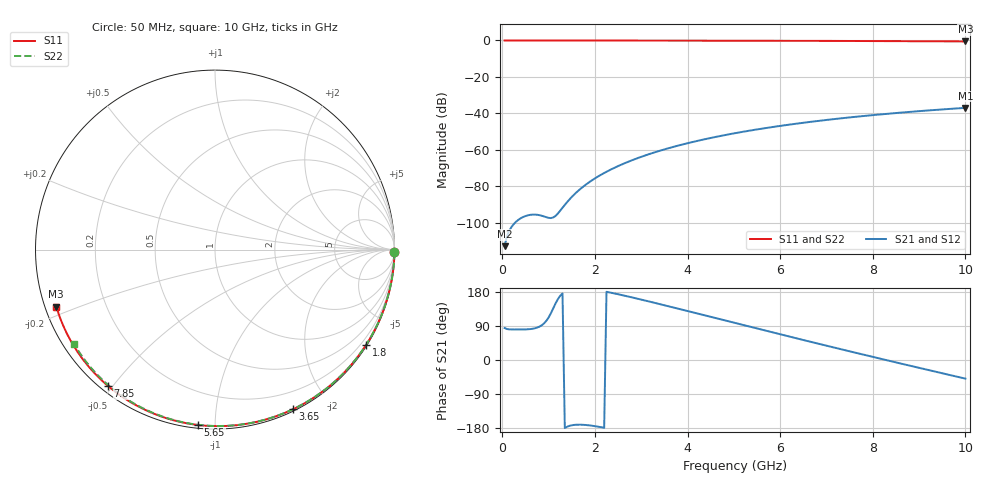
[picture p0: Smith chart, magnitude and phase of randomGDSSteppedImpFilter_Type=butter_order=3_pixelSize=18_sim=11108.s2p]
! freq	dB(S11)	phase(S11)	dB(S12)	phase(S12)
!  dB(S21)	phase(S21)	dB(S22)	phase(S22)
!S-par simulation data
#  GHz  S  DB  R 50
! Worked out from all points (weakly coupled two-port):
!   200 points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, 50 MHz to 10 GHz, reference 50 ohm
!   highest |S21| = -36.94 dB at 10 GHz (marker M1); lowest = -112.8 dB at 50 MHz (marker M2)
!   lowest |S11| = -0.5 dB at 10 GHz (marker M3), VSWR 32.04, Z = 1.61 - j8.69 ohm
!   |S11| at or under -10 dB: nowhere
!   |S22| runs from -0.5 to 0.0 dB; largest |S21 - S12| = 0
!   S11 on the Smith chart (normalised r, x): 50 MHz: open; 1.8 GHz: 0.03, -3.45; 3.65 GHz: 0.02, -1.60; 5.65 GHz: 0.02, -0.91; 7.85 GHz: 0.02, -0.49; 10 GHz: 0.03, -0.17
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0.05  -0.00 -0.9  -112.76 84.5  -112.76 84.5  -0.00 -0.9
0.45  -0.01 -8.2  -96.77 80.6  -96.77 80.6  -0.01 -7.6
0.9  -0.02 -16.3  -96.47 96.4  -96.47 96.4  -0.02 -15.2
1.75  -0.04 -31.5  -80.06 -171.0  -80.06 -171.0  -0.04 -29.3
1.8  -0.04 -32.3  -79.09 -171.5  -79.09 -171.5  -0.04 -30.1
1.95  -0.04 -35.0  -76.43 -173.6  -76.43 -173.6  -0.04 -32.5
2.1  -0.05 -37.6  -74.08 -176.6  -74.08 -176.6  -0.04 -35.0
2.3  -0.05 -41.1  -71.31 178.7  -71.31 178.7  -0.05 -38.2
2.5  -0.06 -44.5  -68.87 173.6  -68.87 173.6  -0.05 -41.4
2.9  -0.07 -51.4  -64.70 162.4  -64.70 162.4  -0.06 -47.8
3.4  -0.08 -59.7  -60.46 147.5  -60.46 147.5  -0.07 -55.6
3.65  -0.09 -63.9  -58.63 139.9  -58.63 139.9  -0.08 -59.4
4.3  -0.11 -74.4  -54.54 120.0  -54.54 120.0  -0.10 -69.3
5.05  -0.13 -86.3  -50.71 96.9  -50.71 96.9  -0.12 -80.2
5.65  -0.16 -95.5  -48.16 78.5  -48.16 78.5  -0.15 -88.8
6.15  -0.19 -103.1  -46.30 63.3  -46.30 63.3  -0.17 -95.7
6.7  -0.22 -111.3  -44.47 46.7  -44.47 46.7  -0.20 -103.2
7.25  -0.26 -119.4  -42.86 30.3  -42.86 30.3  -0.24 -110.5
7.85  -0.30 -128.2  -41.29 12.6  -41.29 12.6  -0.28 -118.4
8.35  -0.35 -135.5  -40.11 -2.0  -40.11 -2.0  -0.32 -124.9
9.2  -0.44 -148.1  -38.36 -26.4  -38.36 -26.4  -0.40 -135.8
10  -0.54 -160.3  -36.94 -49.2  -36.94 -49.2  -0.49 -146.1
